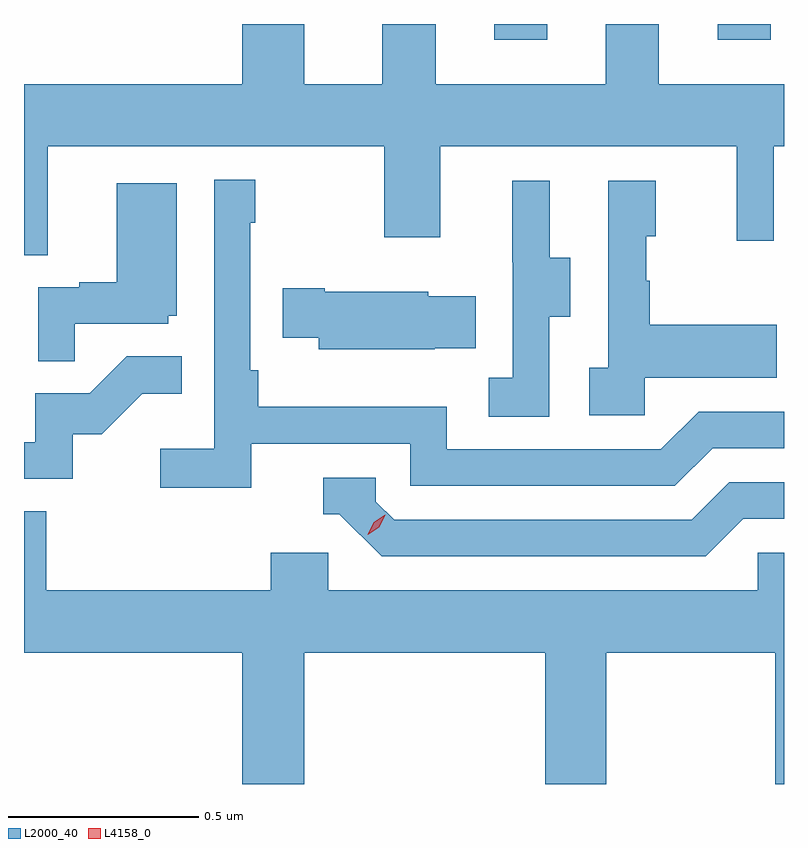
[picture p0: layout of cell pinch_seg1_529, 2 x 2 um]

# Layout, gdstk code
import gdstk
lib = gdstk.Library(unit=1e-6, precision=1e-09)
def R(c, l, rs):  # rectangles x0, y0, x1, y1
    for r in rs: c.add(gdstk.rectangle(r[:2], r[2:], *l))
def P(c, l, *ps):  # polygons
    for p in ps: c.add(gdstk.Polygon(p, *l))
L2000_40 = (2000, 40)
L4158_0 = (4158, 0)

pinch_seg1_529 = lib.new_cell('pinch_seg1_529')
R(pinch_seg1_529, L2000_40, [(1040.795,542.688,1040.935,542.73), (1041.383,542.688,1041.523,542.73)])
P(pinch_seg1_529, L2000_40, [(1039.621,542.408),(1040.506,542.408),(1040.506,542.169),(1040.653,542.169),(1040.653,542.408),(1041.434,542.408),(1041.434,542.16),(1041.531,542.16),(1041.531,542.408),(1041.558,542.408),(1041.558,542.572),(1041.229,542.572),(1041.229,542.73),(1041.089,542.73),(1041.089,542.572),(1040.641,542.572),(1040.641,542.73),(1040.501,542.73),(1040.501,542.572),(1040.296,542.572),(1040.296,542.73),(1040.132,542.73),(1040.132,542.572),(1039.558,542.572),(1039.558,542.122),(1039.621,542.122)],
  [(1040.156,541.626),(1040.574,541.626),(1040.574,541.515),(1041.271,541.515),(1041.37,541.614),(1041.558,541.614),(1041.558,541.71),(1041.333,541.71),(1041.234,541.611),(1040.67,541.611),(1040.67,541.723),(1040.174,541.723),(1040.174,541.819),(1040.154,541.819),(1040.154,542.207),(1040.167,542.207),(1040.167,542.32),(1040.058,542.32),(1040.058,541.612),(1039.917,541.612),(1039.917,541.51),(1040.156,541.51)],
  [(1040.94,541.96),(1040.995,541.96),(1040.995,542.115),(1040.941,542.115),(1040.941,542.317),(1040.843,542.317),(1040.843,542.103),(1040.844,542.103),(1040.844,541.799),(1040.781,541.799),(1040.781,541.696),(1040.94,541.696)],
  [(1041.192,541.799),(1041.539,541.799),(1041.539,541.939),(1041.205,541.939),(1041.205,542.054),(1041.195,542.054),(1041.195,542.172),(1041.22,542.172),(1041.22,542.317),(1041.096,542.317),(1041.096,541.826),(1041.045,541.826),(1041.045,541.701),(1041.192,541.701)],
  [(1039.691,541.941),(1039.938,541.941),(1039.938,541.962),(1039.96,541.962),(1039.96,542.311),(1039.802,542.311),(1039.802,542.05),(1039.703,542.05),(1039.703,542.037),(1039.596,542.037),(1039.596,541.843),(1039.691,541.843)],
  [(1040.639,541.877),(1040.747,541.877),(1040.747,542.014),(1040.622,542.014),(1040.622,542.026),(1040.35,542.026),(1040.35,542.034),(1040.239,542.034),(1040.239,541.904),(1040.333,541.904),(1040.333,541.874),(1040.639,541.874)],
  [(1039.686,541.65),(1039.762,541.65),(1039.869,541.757),(1039.973,541.757),(1039.973,541.856),(1039.829,541.856),(1039.731,541.758),(1039.587,541.758),(1039.587,541.629),(1039.558,541.629),(1039.558,541.533),(1039.686,541.533)],
  [(1041.451,541.428),(1041.558,541.428),(1041.558,541.524),(1041.414,541.524),(1041.315,541.425),(1040.532,541.425),(1040.484,541.473),(1040.484,541.536),(1040.345,541.536),(1040.345,541.44),(1040.388,541.44),(1040.499,541.329),(1041.352,541.329)],
  [(1040.296,541.076),(1040.93,541.076),(1040.93,540.73),(1041.09,540.73),(1041.09,541.076),(1041.535,541.076),(1041.535,540.73),(1041.558,540.73),(1041.558,541.338),(1041.489,541.338),(1041.489,541.24),(1040.358,541.24),(1040.358,541.338),(1040.207,541.338),(1040.207,541.24),(1039.616,541.24),(1039.616,541.448),(1039.558,541.448),(1039.558,541.076),(1040.132,541.076),(1040.132,540.73),(1040.296,540.73)])
P(pinch_seg1_529, L4158_0, [(1040.462,541.386),(1040.462,541.386),(1040.478,541.419),(1040.508,541.438),(1040.509,541.438),(1040.509,541.438),(1040.493,541.406),(1040.462,541.386)])

lib.write_gds('pinch_seg1_529.gds')
